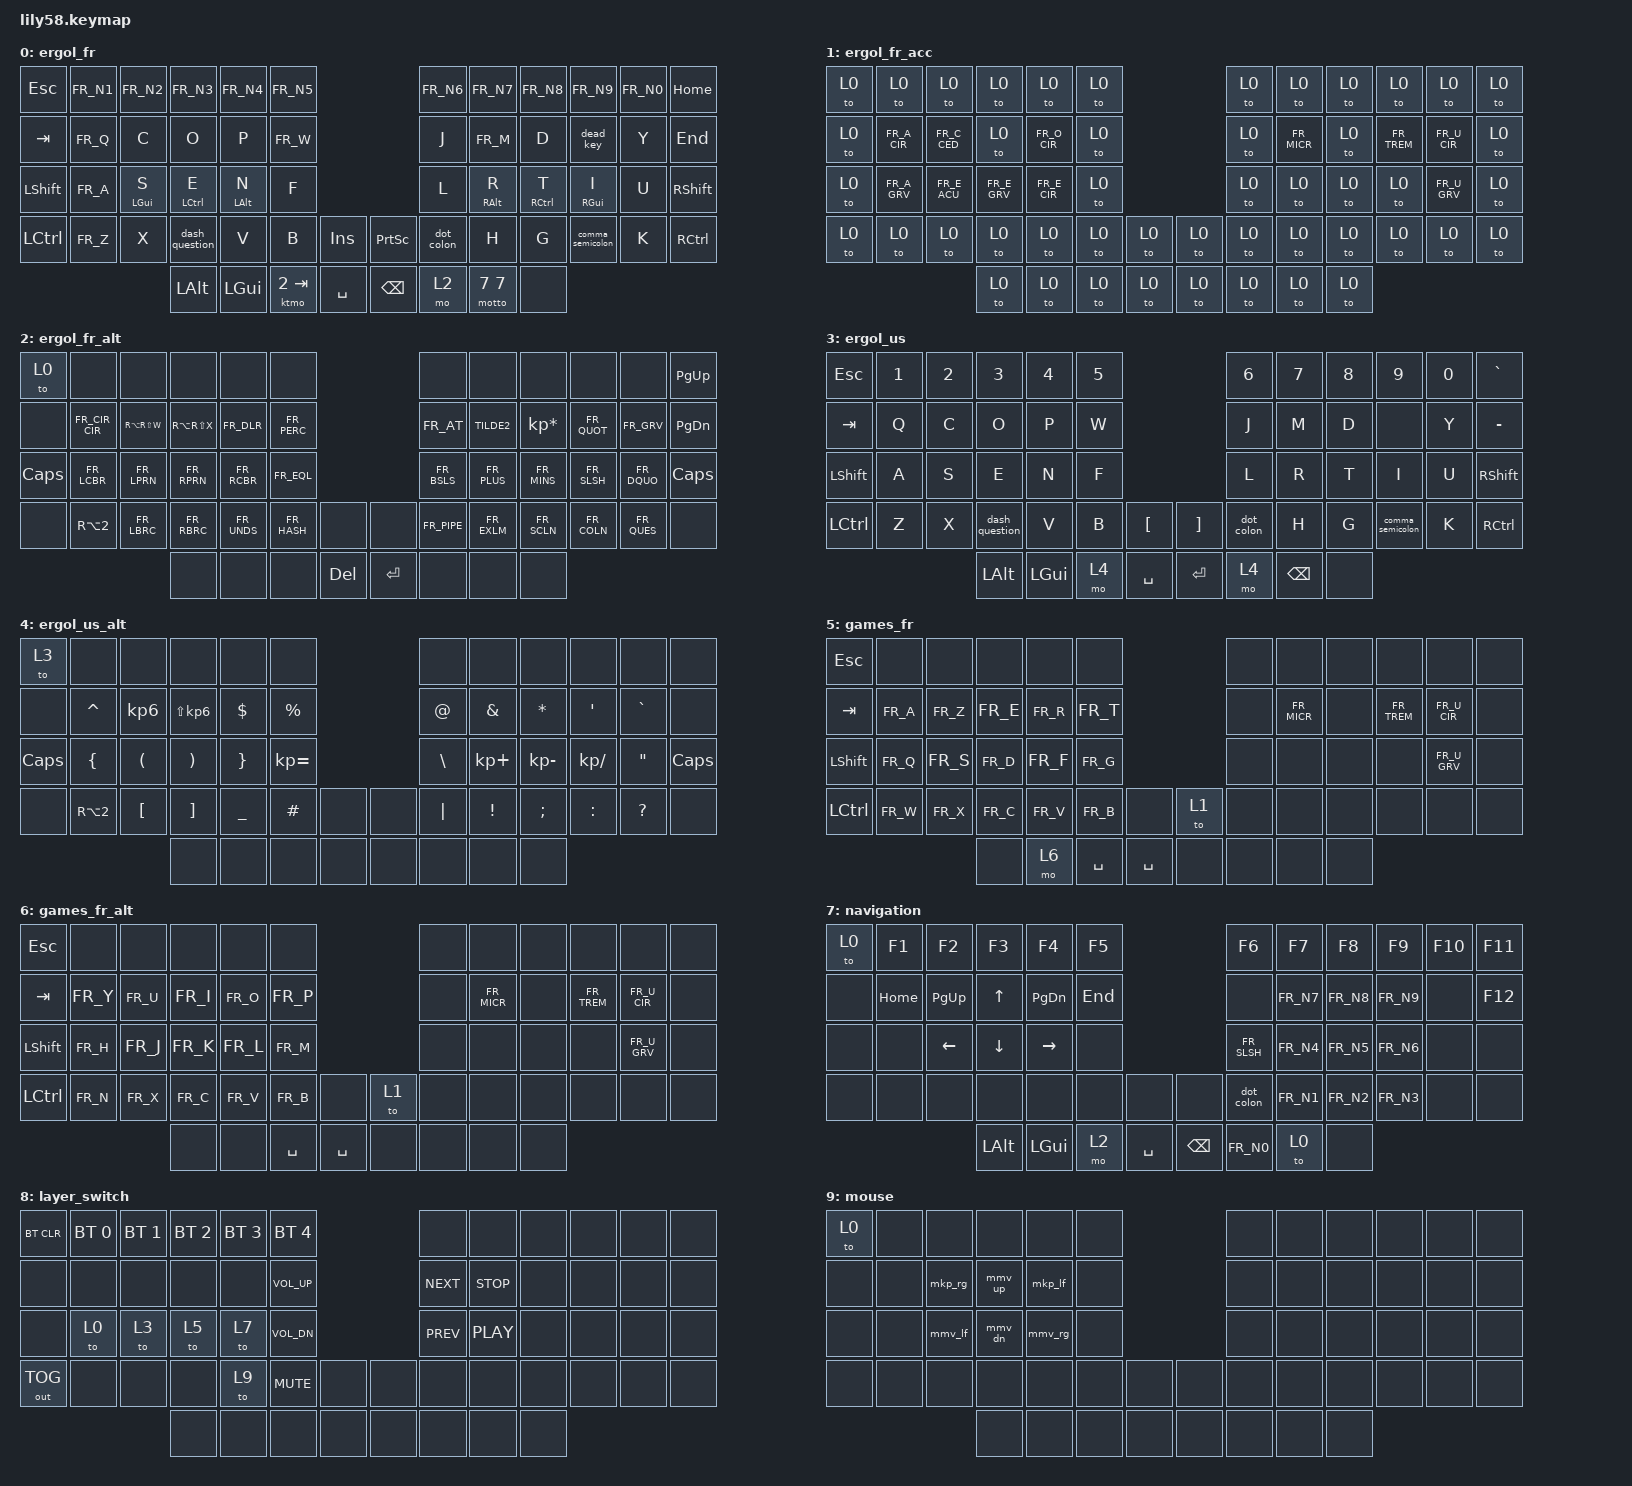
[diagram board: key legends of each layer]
/*
 * Copyright (c) 2020 The ZMK Contributors
 *
 * SPDX-License-Identifier: MIT
 */
#include <behaviors.dtsi>
#include <dt-bindings/zmk/keys.h>
#include <dt-bindings/zmk/bt.h>
#include <dt-bindings/zmk/outputs.h>
#include <dt-bindings/zmk/mouse.h>
#define HOST_OS 1
#include "keymap_french.h"
#include "mouse.dtsi"
#include "zmk-helpers/helper.h"

// Source desired key-position labels

#include "zmk-helpers/key-labels/lily58.h"

// Source unicode-chars for desired languages
#include "zmk-helpers/unicode-chars/french.dtsi"
#include "zmk-helpers/unicode-chars/greek.dtsi"


#define ERGOL_FR 0
#define ERGOL_FR_ACC 1
#define ERGOL_FR_ALT 2
#define ERGOL_US 3
#define ERGOL_US_ALT 4
#define GAMES 5
#define GAMES_ALT 6
#define NAVIGATION 7
#define LAYER_SWITCH 8

#include "combos.h"
#include "french-morph.h"
#include "french-macro.h"
#include "alt-morph.h"
//#include "hrm.h"

//ZMK_HOLD_TAP(hml,
//    flavor = "balanced";
//    tapping-term-ms = <280>;
//    require-prior-idle-ms = <150>;
//    hold-trigger-key-positions = <KEYS_R THUMBS>;
//    hold-trigger-on-release;
//    bindings = <&kp>, <&kp>;
//)
ZMK_BEHAVIOR(hml, hold_tap,
    flavor = "balanced";
    tapping-term-ms = <280>;
    quick-tap-ms = <180>;
    bindings = <&kp>, <&kp>;
)
ZMK_BEHAVIOR(hmr, hold_tap,
    flavor = "balanced";
    tapping-term-ms = <280>;
    quick-tap-ms = <180>;
    bindings = <&kp>, <&kp>;
)
ZMK_BEHAVIOR(motto, hold_tap,
    flavor = "balanced";
    tapping-term-ms = <280>;
    quick-tap-ms = <180>;
    bindings = <&mo>, <&to>;
)

ZMK_BEHAVIOR(ktmo, hold_tap,
    flavor = "balanced";
    tapping-term-ms = <280>;
    quick-tap-ms = <180>;
    bindings = <&mo>, <&kp>;
)



ZMK_LAYER(ergol_fr,
// ╭───────────────┬──────────────┬────────────┬───────────────┬─────────────────┬─────────────╮                      ╭────────────┬─────────────────┬───────────────┬───────────────────────┬─────────┬────────────────╮
    &kp ESC         &FR_N1         &FR_N2       &FR_N3          &FR_N4            &FR_N5                               &FR_N6       &FR_N7            &FR_N8          &FR_N9                  &FR_N0    &kp HOME
// ├───────────────┼──────────────┼────────────┼───────────────┼─────────────────┼─────────────┤                      ├────────────┼─────────────────┼───────────────┼───────────────────────┼─────────┼────────────────┤
    &kp TAB         &kp FR_Q       &kp C        &kp O           &kp P             &kp FR_W                             &kp J        &kp FR_M          &kp D           &dead_key               &kp Y     &kp END
// ├───────────────┼──────────────┼────────────┼───────────────┼─────────────────┼─────────────┤                      ├────────────┼─────────────────┼───────────────┼───────────────────────┼─────────┼────────────────┤
    &kp LEFT_SHIFT  &kp FR_A       &hml LGUI S  &hml LCTRL E    &hml LALT N       &kp F                                &kp L        &hmr RALT R       &hmr RCTRL T    &hmr RGUI I             &kp U     &kp RIGHT_SHIFT
// ├───────────────┼──────────────┼────────────┼───────────────┼─────────────────┼─────────────┼──────────┬───────────┼────────────┼─────────────────┼───────────────┼───────────────────────┼─────────┼────────────────┤
    &kp LCTRL       &kp FR_Z       &kp X        &dash_question  &kp V             &kp B         &kp INS    &kp PSCRN   &dot_colon   &kp H             &kp G           &comma_semicolon        &kp K     &kp RCTRL
// ╰───────────────┴──────────────┴────────────┼───────────────┼─────────────────┼─────────────┼──────────┼───────────┼────────────┼─────────────────┼───────────────┼───────────────────────┴─────────┴────────────────╯
                                                &kp LALT        &kp LGUI          &ktmo 2 TAB   &kp SPACE  &kp BSPC    &mo 2        &motto 7 7        &none
//                                             ╰───────────────┴─────────────────┴─────────────┴──────────┴───────────┴────────────┴─────────────────┴───────────────╯
)

ZMK_LAYER(ergol_fr_acc,
// ╭───────┬─────────────────┬──────────────┬────────────┬─────────────────┬───────╮                    ╭────────────┬───────────┬─────────┬─────────┬────────────────┬────────╮
    &to 0   &to 0             &to 0          &to 0        &to 0             &to 0                        &to 0        &to 0       &to 0     &to 0     &to 0            &to 0
// ├───────┼─────────────────┼──────────────┼────────────┼─────────────────┼───────┤                    ├────────────┼───────────┼─────────┼─────────┼────────────────┼────────┤
    &to 0   &FR_A_CIR         &FR_C_CED      &to 0        &FR_O_CIR         &to 0                        &to 0        &kp FR_MICR &to 0     &FR_TREM  &FR_U_CIR        &to 0
// ├───────┼─────────────────┼──────────────┼────────────┼─────────────────┼───────┤                    ├────────────┼───────────┼─────────┼─────────┼────────────────┼────────┤
    &to 0   &FR_A_GRV         &FR_E_ACU      &FR_E_GRV    &FR_E_CIR         &to 0                        &to 0        &to 0       &to 0     &to 0     &FR_U_GRV        &to 0
// ├───────┼─────────────────┼──────────────┼────────────┼─────────────────┼───────┼─────────┬──────────┼────────────┼───────────┼─────────┼─────────┼────────────────┼────────┤
    &to 0   &to 0             &to 0          &to 0        &to 0             &to 0   &to 0     &to 0      &to 0        &to 0       &to 0     &to 0     &to 0            &to 0
// ╰───────┴─────────────────┴──────────────┼────────────┼─────────────────┼───────┼─────────┼──────────┼────────────┼───────────┼─────────┼─────────┴────────────────┴────────╯
                                             &to 0        &to 0             &to 0   &to 0     &to 0      &to 0        &to 0       &to 0
//                                          ╰────────────┴─────────────────┴───────┴─────────┴──────────┴────────────┴───────────┴─────────╯
)

ZMK_LAYER(ergol_fr_alt,
// ╭───────┬─────────────────┬──────────────┬────────────┬─────────────────┬─────────────╮                    ╭────────────┬─────────────────┬──────────────────┬───────────┬────────────────┬────────╮
    &to 0   &none             &none          &none        &none             &none                              &none        &none             &none              &none       &none            &kp PG_UP
// ├───────┼─────────────────┼──────────────┼────────────┼─────────────────┼─────────────┤                    ├────────────┼─────────────────┼──────────────────┼───────────┼────────────────┼────────┤
    &none   &FR_CIR_CIR    &kp RA(RS(W))  &kp RA(RS(X)) &kp FR_DLR       &kp FR_PERC                        &kp FR_AT    &kp TILDE2        &kp KP_ASTERISK    &kp FR_QUOT &kp FR_GRV       &kp PG_DN
// ├───────┼─────────────────┼──────────────┼────────────┼─────────────────┼─────────────┤                    ├────────────┼─────────────────┼──────────────────┼───────────┼────────────────┼────────┤
    &kp CAPS &kp FR_LCBR      &kp FR_LPRN    &kp FR_RPRN  &kp FR_RCBR       &kp FR_EQL                         &kp FR_BSLS  &kp FR_PLUS       &kp FR_MINS        &kp FR_SLSH &kp FR_DQUO      &kp CAPS
// ├───────┼─────────────────┼──────────────┼────────────┼─────────────────┼─────────────┼─────────┬──────────┼────────────┼─────────────────┼──────────────────┼───────────┼────────────────┼────────┤
    &none   &kp RA(N2)        &kp FR_LBRC    &kp FR_RBRC  &kp FR_UNDS       &kp FR_HASH   &none    &none       &kp FR_PIPE  &kp FR_EXLM       &kp FR_SCLN        &kp FR_COLN &kp FR_QUES      &none
// ╰───────┴─────────────────┴──────────────┼────────────┼─────────────────┼─────────────┼─────────┼──────────┼────────────┼─────────────────┼──────────────────┼───────────┴────────────────┴────────╯
                                             &none        &none             &none         &kp DEL   &kp ENTER  &none        &none             &none
//                                          ╰────────────┴─────────────────┴─────────────┴─────────┴──────────┴────────────┴─────────────────┴──────────────────╯
)

ZMK_LAYER(ergol_us,
// ╭───────────────┬──────────┬──────────┬───────────────┬──────────┬────────╮                      ╭────────────┬─────────┬─────────┬─────────────────┬─────────┬────────────────╮
    &kp ESC         &kp N1     &kp N2     &kp N3          &kp N4     &kp N5                          &kp N6       &kp N7    &kp N8    &kp N9            &kp N0    &kp GRAVE
// ├───────────────┼──────────┼──────────┼───────────────┼──────────┼────────┤                      ├────────────┼─────────┼─────────┼─────────────────┼─────────┼────────────────┤
    &kp TAB         &kp Q      &kp C      &kp O           &kp P      &kp W                           &kp J        &kp M     &kp D     &none             &kp Y     &kp MINUS
// ├───────────────┼──────────┼──────────┼───────────────┼──────────┼────────┤                      ├────────────┼─────────┼─────────┼─────────────────┼─────────┼────────────────┤
    &kp LEFT_SHIFT  &kp A      &kp S      &kp E           &kp N      &kp F                           &kp L        &kp R     &kp T     &kp I             &kp U     &kp RIGHT_SHIFT
// ├───────────────┼──────────┼──────────┼───────────────┼──────────┼────────┼──────────┬───────────┼────────────┼─────────┼─────────┼─────────────────┼─────────┼────────────────┤
    &kp LCTRL       &kp Z      &kp X      &dash_question  &kp V      &kp B    &kp LBKT    &kp RBKT   &dot_colon   &kp H     &kp G     &comma_semicolon  &kp K     &kp RCTRL
// ╰───────────────┴──────────┴──────────┼───────────────┼──────────┼────────┼──────────┼───────────┼────────────┼─────────┼─────────┼─────────────────┴─────────┴────────────────╯
                                          &kp LALT        &kp LGUI   &mo 4    &kp SPACE   &kp RET    &mo 4        &kp BSPC  &none
//                                       ╰───────────────┴──────────┴────────┴──────────┴───────────┴────────────┴─────────┴─────────╯
)

ZMK_LAYER(ergol_us_alt,
// ╭───────┬─────────────────┬──────────────┬────────────┬─────────────────┬─────────────╮                    ╭────────────┬─────────────────┬──────────────────┬─────────────┬────────────────┬────────╮
    &to 3   &none             &none          &none        &none             &none                              &none        &none             &none              &none         &none            &none
// ├───────┼─────────────────┼──────────────┼────────────┼─────────────────┼─────────────┤                    ├────────────┼─────────────────┼──────────────────┼─────────────┼────────────────┼────────┤
    &none   &kp CARET         &kp KP_N6      &kp LS(KP_N6) &kp DLLR          &kp PRCNT                          &kp AT       &kp AMPS          &kp STAR           &kp APOS      &kp GRAVE        &none
// ├───────┼─────────────────┼──────────────┼────────────┼─────────────────┼─────────────┤                    ├────────────┼─────────────────┼──────────────────┼─────────────┼────────────────┼────────┤
    &kp CAPS   &kp LBRC          &kp LPAR       &kp RPAR     &kp RBRC          &kp KP_EQUAL                       &kp BSLH     &kp KP_PLUS       &kp KP_MINUS       &kp KP_SLASH  &kp DQT          &kp CAPS
// ├───────┼─────────────────┼──────────────┼────────────┼─────────────────┼─────────────┼─────────┬──────────┼────────────┼─────────────────┼──────────────────┼─────────────┼────────────────┼────────┤
    &none   &kp RA(2)         &kp LBKT       &kp RBKT     &kp UNDER         &kp HASH      &none     &none      &kp PIPE     &kp EXCL          &kp SEMI           &kp COLON     &kp QMARK        &none
// ╰───────┴─────────────────┴──────────────┼────────────┼─────────────────┼─────────────┼─────────┼──────────┼────────────┼─────────────────┼──────────────────┼─────────────┴────────────────┴────────╯
                                             &none        &none             &none         &none     &none      &none        &none             &none
//                                          ╰────────────┴─────────────────┴─────────────┴─────────┴──────────┴────────────┴─────────────────┴──────────────────╯
)

ZMK_LAYER(games_fr,
// ╭───────────────┬─────────────────┬──────────────┬────────────┬──────────────┬──────────╮                    ╭────────────┬───────────┬─────────┬─────────┬────────────────┬────────╮
    &kp ESC         &none             &none          &none        &none          &none                           &none        &none       &none     &none     &none            &none
// ├───────────────┼─────────────────┼──────────────┼────────────┼──────────────┼──────────┤                    ├────────────┼───────────┼─────────┼─────────┼────────────────┼────────┤
    &kp TAB         &kp FR_A          &kp FR_Z       &kp FR_E     &kp FR_R       &kp FR_T                        &none        &kp FR_MICR &none     &FR_TREM  &FR_U_CIR        &none
// ├───────────────┼─────────────────┼──────────────┼────────────┼──────────────┼──────────┤                    ├────────────┼───────────┼─────────┼─────────┼────────────────┼────────┤
    &kp LEFT_SHIFT  &kp FR_Q          &kp FR_S       &kp FR_D     &kp FR_F       &kp FR_G                        &none        &none       &none     &none     &FR_U_GRV        &none
// ├───────────────┼─────────────────┼──────────────┼────────────┼──────────────┼──────────┼─────────┬──────────┼────────────┼───────────┼─────────┼─────────┼────────────────┼────────┤
    &kp LCTRL       &kp FR_W          &kp FR_X       &kp FR_C     &kp FR_V       &kp FR_B   &none     &to 1      &none        &none       &none     &none     &none            &none
// ╰───────────────┴─────────────────┴──────────────┼────────────┼──────────────┼──────────┼─────────┼──────────┼────────────┼───────────┼─────────┼─────────┴────────────────┴────────╯
                                                     &none        &mo 6          &kp SPACE  &kp SPACE &none      &none        &none       &none
//                                                  ╰────────────┴──────────────┴──────────┴─────────┴──────────┴────────────┴───────────┴─────────╯
)

ZMK_LAYER(games_fr_alt,
// ╭───────────────┬─────────────────┬──────────────┬────────────┬──────────────┬──────────╮                    ╭────────────┬───────────┬─────────┬─────────┬────────────────┬────────╮
    &kp ESC         &none             &none          &none        &none          &none                           &none        &none       &none     &none     &none            &none
// ├───────────────┼─────────────────┼──────────────┼────────────┼──────────────┼──────────┤                    ├────────────┼───────────┼─────────┼─────────┼────────────────┼────────┤
    &kp TAB         &kp FR_Y          &kp FR_U       &kp FR_I     &kp FR_O       &kp FR_P                        &none        &kp FR_MICR &none     &FR_TREM  &FR_U_CIR        &none
// ├───────────────┼─────────────────┼──────────────┼────────────┼──────────────┼──────────┤                    ├────────────┼───────────┼─────────┼─────────┼────────────────┼────────┤
    &kp LEFT_SHIFT  &kp FR_H          &kp FR_J       &kp FR_K     &kp FR_L       &kp FR_M                        &none        &none       &none     &none     &FR_U_GRV        &none
// ├───────────────┼─────────────────┼──────────────┼────────────┼──────────────┼──────────┼─────────┬──────────┼────────────┼───────────┼─────────┼─────────┼────────────────┼────────┤
    &kp LCTRL       &kp FR_N          &kp FR_X       &kp FR_C     &kp FR_V       &kp FR_B   &none     &to 1      &none        &none       &none     &none     &none            &none
// ╰───────────────┴─────────────────┴──────────────┼────────────┼──────────────┼──────────┼─────────┼──────────┼────────────┼───────────┼─────────┼─────────┴────────────────┴────────╯
                                                     &none        &none          &kp SPACE  &kp SPACE &none      &none        &none       &none
//                                                  ╰────────────┴──────────────┴──────────┴─────────┴──────────┴────────────┴───────────┴─────────╯
)

ZMK_LAYER(navigation,
// ╭───────────────┬─────────────────┬──────────────┬────────────┬──────────────┬──────────╮                    ╭────────────┬───────────┬─────────┬─────────┬────────────────┬────────╮
    &to 0           &kp F1            &kp F2         &kp F3       &kp F4         &kp F5                          &kp F6       &kp F7      &kp F8    &kp F9    &kp F10          &kp F11
// ├───────────────┼─────────────────┼──────────────┼────────────┼──────────────┼──────────┤                    ├────────────┼───────────┼─────────┼─────────┼────────────────┼────────┤
    &none           &kp HOME          &kp PG_UP      &kp UP       &kp PG_DN      &kp END                         &none        &FR_N7      &FR_N8    &FR_N9    &none            &kp F12
// ├───────────────┼─────────────────┼──────────────┼────────────┼──────────────┼──────────┤                    ├────────────┼───────────┼─────────┼─────────┼────────────────┼────────┤
    &none           &none             &kp LEFT       &kp DOWN     &kp RIGHT      &none                           &kp FR_SLSH  &FR_N4      &FR_N5    &FR_N6    &none            &none
// ├───────────────┼─────────────────┼──────────────┼────────────┼──────────────┼──────────┼─────────┬──────────┼────────────┼───────────┼─────────┼─────────┼────────────────┼────────┤
    &none           &none             &none          &none        &none          &none      &none     &none      &dot_colon   &FR_N1      &FR_N2    &FR_N3    &none            &none
// ╰───────────────┴─────────────────┴──────────────┼────────────┼──────────────┼──────────┼─────────┼──────────┼────────────┼───────────┼─────────┼─────────┴────────────────┴────────╯
                                                     &kp LALT     &kp LGUI       &mo 2      &kp SPACE &kp BSPC   &FR_N0       &to 0       &none
//                                                  ╰────────────┴──────────────┴──────────┴─────────┴──────────┴────────────┴───────────┴─────────╯
)

ZMK_LAYER(layer_switch,
// ╭───────────────┬─────────────────┬──────────────┬────────────┬──────────────┬─────────────╮                    ╭────────────┬───────────┬─────────┬─────────┬────────────────┬────────╮
    &bt BT_CLR      &bt BT_SEL 0      &bt BT_SEL 1   &bt BT_SEL 2 &bt BT_SEL 3   &bt BT_SEL 4                       &none        &none       &none     &none     &none            &none
// ├───────────────┼─────────────────┼──────────────┼────────────┼──────────────┼─────────────┤                    ├────────────┼───────────┼─────────┼─────────┼────────────────┼────────┤
    &none           &none             &none          &none        &none          &kp C_VOL_UP                       &kp C_NEXT   &kp C_STOP  &none     &none     &none            &none
// ├───────────────┼─────────────────┼──────────────┼────────────┼──────────────┼─────────────┤                    ├────────────┼───────────┼─────────┼─────────┼────────────────┼────────┤
    &none           &to 0             &to 3          &to 5        &to 7          &kp C_VOL_DN                       &kp C_PREV   &kp C_PLAY  &none     &none     &none            &none
// ├───────────────┼─────────────────┼──────────────┼────────────┼──────────────┼─────────────┼─────────┬──────────┼────────────┼───────────┼─────────┼─────────┼────────────────┼────────┤
    &out OUT_TOG    &none             &none          &none        &to 9          &kp C_MUTE    &none     &none      &none        &none       &none     &none     &none            &none
// ╰───────────────┴─────────────────┴──────────────┼────────────┼──────────────┼─────────────┼─────────┼──────────┼────────────┼───────────┼─────────┼─────────┴────────────────┴────────╯
                                                     &none        &none          &none         &none     &none      &none        &none       &none
//                                                  ╰────────────┴──────────────┴─────────────┴─────────┴──────────┴────────────┴───────────┴─────────╯
)

ZMK_LAYER(mouse,
// ╭───────────────┬─────────────────┬──────────────┬────────────┬──────────────┬──────────╮                    ╭────────────┬───────────┬─────────┬─────────┬────────────────┬────────╮
    &to 0           &none             &none          &none        &none          &none                           &none        &none       &none     &none     &none            &none
// ├───────────────┼─────────────────┼──────────────┼────────────┼──────────────┼──────────┤                    ├────────────┼───────────┼─────────┼─────────┼────────────────┼────────┤
    &none           &none             &mkp_rg        &mmv_up      &mkp_lf        &none                           &none        &none       &none     &none     &none            &none
// ├───────────────┼─────────────────┼──────────────┼────────────┼──────────────┼──────────┤                    ├────────────┼───────────┼─────────┼─────────┼────────────────┼────────┤
    &none           &none             &mmv_lf        &mmv_dn      &mmv_rg        &none                           &none        &none       &none     &none     &none            &none
// ├───────────────┼─────────────────┼──────────────┼────────────┼──────────────┼──────────┼─────────┬──────────┼────────────┼───────────┼─────────┼─────────┼────────────────┼────────┤
    &none           &none             &none          &none        &none          &none      &none     &none      &none        &none       &none     &none     &none            &none
// ╰───────────────┴─────────────────┴──────────────┼────────────┼──────────────┼──────────┼─────────┼──────────┼────────────┼───────────┼─────────┼─────────┴────────────────┴────────╯
                                                     &none        &none          &none      &none     &none      &none        &none       &none
//                                                  ╰────────────┴──────────────┴──────────┴─────────┴──────────┴────────────┴───────────┴─────────╯
)
